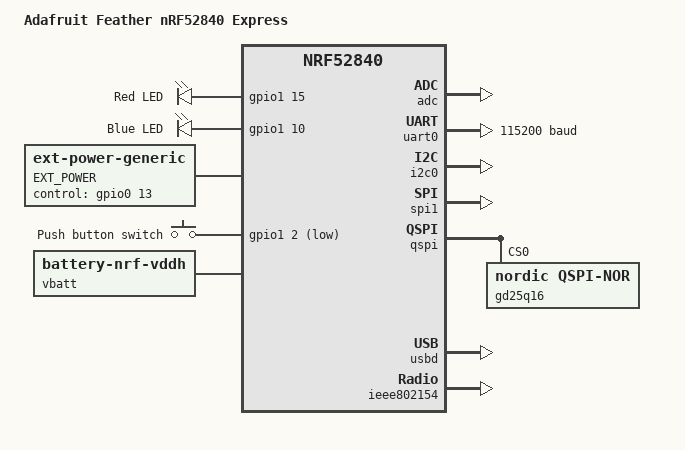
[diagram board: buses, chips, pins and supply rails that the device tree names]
/*
 * Copyright (c) 2021 The ZMK Contributors
 *
 * SPDX-License-Identifier: MIT
 */

/dts-v1/;
#include <nordic/nrf52840_qiaa.dtsi>
#include "feather_nrf52840-connector.dtsi"
#include "feather_nrf52840-pinctrl.dtsi"
#include <zephyr/dt-bindings/input/input-event-codes.h>

/ {
	model = "Adafruit Feather nRF52840 Express";
	compatible = "adafruit,feather-nrf52840";

	chosen {
		zephyr,sram = &sram0;
		zephyr,flash = &flash0;
		zephyr,code-partition = &code_partition;
		zmk,battery = &vbatt;
	};

	leds {
		compatible = "gpio-leds";
		led0: led_0 {
			gpios = <&gpio1 15 0>;
			label = "Red LED";
		};
		led1: led_1 {
			gpios = <&gpio1 10 0>;
			label = "Blue LED";
		};
	};

	// Node name must match original "EXT_POWER" label to preserve user settings.
	EXT_POWER {
		compatible = "zmk,ext-power-generic";
		control-gpios = <&gpio0 13 GPIO_ACTIVE_HIGH>;
		init-delay-ms = <50>;
	};

	buttons {
		compatible = "gpio-keys";
		button0: button_0 {
			gpios = <&gpio1 2 (GPIO_PULL_UP | GPIO_ACTIVE_LOW)>;
			label = "Push button switch";
			zephyr,code = <INPUT_KEY_0>;
		};
	};

	/* These aliases are provided for compatibility with samples */
	aliases {
		led0 = &led0;
		led1 = &led1;
		sw0 = &button0;
		watchdog0 = &wdt0;
		spi-flash0 = &gd25q16;
	};

	vbatt: vbatt {
		compatible = "zmk,battery-nrf-vddh";
	};
};

&adc {
	status = "okay";
};

&uicr {
	gpio-as-nreset;
};

&gpiote {
	status = "okay";
};

&gpio0 {
	status = "okay";
};

&gpio1 {
	status = "okay";
};

&uart0 {
	status = "okay";
	compatible = "nordic,nrf-uarte";
	current-speed = <115200>;
	pinctrl-0 = <&uart0_default>;
	pinctrl-1 = <&uart0_sleep>;
	pinctrl-names = "default", "sleep";
};

&i2c0 {
	status = "okay";
	compatible = "nordic,nrf-twi";
	pinctrl-0 = <&i2c0_default>;
	pinctrl-1 = <&i2c0_sleep>;
	pinctrl-names = "default", "sleep";
};

&spi1 {
	status = "okay";
	compatible = "nordic,nrf-spim";
	pinctrl-0 = <&spi1_default>;
	pinctrl-1 = <&spi1_sleep>;
	pinctrl-names = "default", "sleep";
};

&qspi {
	status = "okay";
	pinctrl-0 = <&qspi_default>;
	pinctrl-1 = <&qspi_sleep>;
	pinctrl-names = "default", "sleep";
	gd25q16: gd25q16@0 {
		compatible = "nordic,qspi-nor";
		reg = <0>;
		writeoc = "pp4o";
		readoc = "read4io";
		sck-frequency = <16000000>;
		jedec-id = [c8 40 15];
		size = <16777216>;
		has-dpd;
		t-enter-dpd = <20000>;
		t-exit-dpd = <20000>;
		quad-enable-requirements = "S2B1v1";
	};
};

zephyr_udc0: &usbd {
	status = "okay";
	compatible = "nordic,nrf-usbd";
};

&ieee802154 {
	status = "okay";
};

&flash0 {
	/*
	 * For more information, see:
	 * http://docs.zephyrproject.org/latest/devices/dts/flash_partitions.html
	 */
	partitions {
		compatible = "fixed-partitions";
		#address-cells = <1>;
		#size-cells = <1>;

		sd_partition: partition@0 {
			reg = <0x00000000 0x00026000>;
		};
		code_partition: partition@26000 {
			reg = <0x00026000 0x000c6000>;
		};

		/*
		 * The flash starting at 0x000ec000 and ending at
		 * 0x000f3fff is reserved for use by the application.
		 */

		/*
		 * Storage partition will be used by FCB/LittleFS/NVS
		 * if enabled.
		 */
		storage_partition: partition@ec000 {
			reg = <0x000ec000 0x00008000>;
		};

		boot_partition: partition@f4000 {
			reg = <0x000f4000 0x0000c000>;
		};
	};
};
